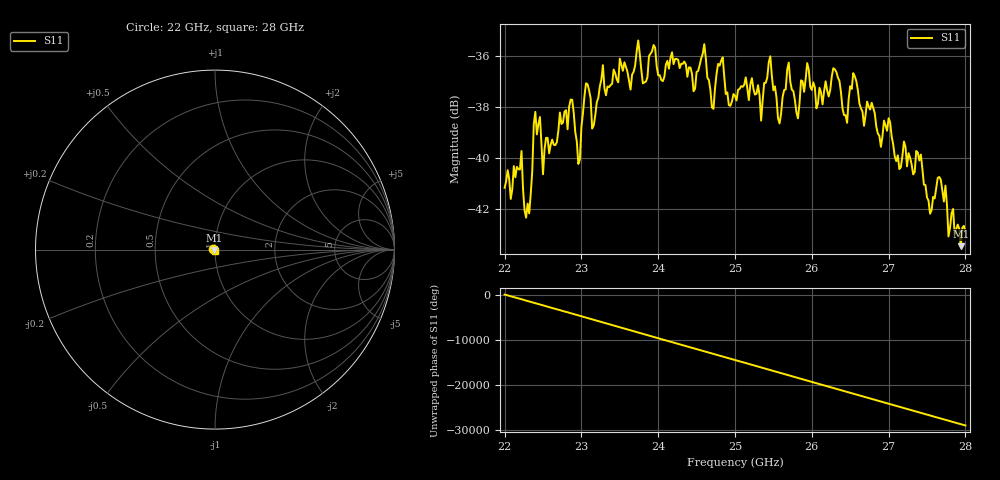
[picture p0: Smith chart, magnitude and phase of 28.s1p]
#  HZ  S  RI  R  50.00
! Rohde & Schwarz ZVA40 4Ports - Version 3.90 - 1145.1110k42 SN: 100403
! Date: 2023-10-04 06:06:49
! Measurement: S12
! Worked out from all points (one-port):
!   301 points, 22 GHz to 28 GHz, reference 50 ohm
!   lowest |S11| = -43.5 dB at 27.94 GHz (marker M1), VSWR 1.01, Z = 49.4 - j0.189 ohm
!   |S11| at or under -10 dB: start of sweep to end of sweep
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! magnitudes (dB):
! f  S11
! 22 GHz  -41.2
! 22.22 GHz  -39.7
! 22.28 GHz  -42.4
! 22.4 GHz  -38.2
! 22.5 GHz  -40.7
! 22.76 GHz  -38.6
! 22.88 GHz  -37.7
! 22.96 GHz  -40.2
! 23.06 GHz  -37.1
! 23.14 GHz  -38.9
! 23.28 GHz  -36.4
! 23.5 GHz  -36.1
! 24.26 GHz  -36.2
! 25 GHz  -37.6
! 25.22 GHz  -36.9
! 25.34 GHz  -38.6
! 25.46 GHz  -36.0
! 25.58 GHz  -38.7
! 25.7 GHz  -36.3
! 25.76 GHz  -37.4
! 26.28 GHz  -36.5
! 26.46 GHz  -38.6
! 26.5 GHz  -37.2
! 27.26 GHz  -39.8
! 27.54 GHz  -42.2
! 27.74 GHz  -41.1
! 27.94 GHz  -43.5
! 28 GHz  -42.9
